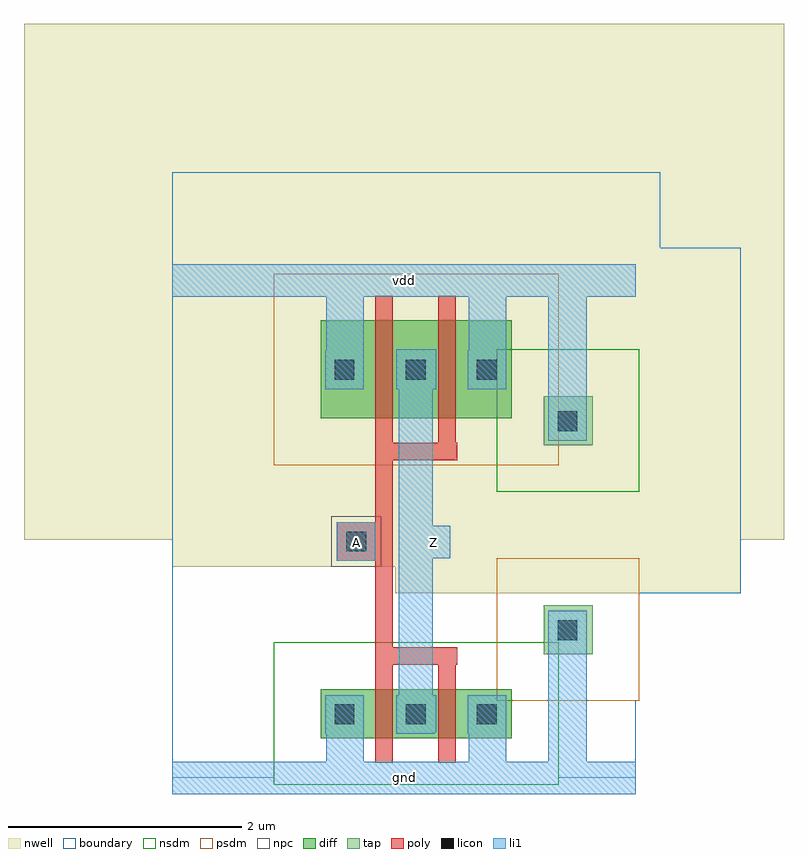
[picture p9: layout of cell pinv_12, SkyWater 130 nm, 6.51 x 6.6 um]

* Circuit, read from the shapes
.subckt pinv_12 A Z gnd vdd
XM1 Z A gnd gnd sky130_fd_pr__nfet_01v8 w=0.42 l=0.15 m=2
XM2 Z A vdd vdd sky130_fd_pr__pfet_01v8 w=0.84 l=0.15 m=2
.ends

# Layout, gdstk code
import gdstk
lib = gdstk.Library(unit=1e-6, precision=1e-09)
def R(c, l, rs):  # rectangles x0, y0, x1, y1
    for r in rs: c.add(gdstk.rectangle(r[:2], r[2:], *l))
nwell = (64, 20)
diff = (65, 20)
tap = (65, 44)
poly = (66, 20)
licon = (66, 44)
li1 = (67, 20)
nsdm = (93, 44)
psdm = (94, 20)
npc = (95, 20)
boundary = (235, 4)

contact_12 = lib.new_cell('contact_12')
R(contact_12, nwell, [(-1.27,-1.27,1.69,1.69)])
R(contact_12, diff, [(0,0,0.42,0.42)])
R(contact_12, licon, [(0.12,0.12,0.29,0.29)])
R(contact_12, li1, [(0.04,0.04,0.37,0.37)])
R(contact_12, psdm, [(-0.4,-0.4,0.82,0.82)])
R(contact_12, boundary, [(-1.27,-1.27,1.69,1.69)])

pmos_m2_w0_840_sli_dli_d = lib.new_cell('pmos_m2_w0_840_sli_dli_da_p')
R(pmos_m2_w0_840_sli_dli_d, nwell, [(-1.27,-1.27,2.91,2.11)])
R(pmos_m2_w0_840_sli_dli_d, diff, [(0,0,1.64,0.84)])
R(pmos_m2_w0_840_sli_dli_d, poly, [(0.47,-0.36,1.17,-0.21), (0.47,-0.21,0.62,1.05), (1.01,-0.21,1.16,1.05)])
R(pmos_m2_w0_840_sli_dli_d, li1, [(0.05,0.25,0.37,0.59), (0.65,0.25,0.99,0.59), (1.27,0.25,1.59,0.59)])
R(pmos_m2_w0_840_sli_dli_d, psdm, [(-0.4,-0.4,2.04,1.24)])
R(pmos_m2_w0_840_sli_dli_d, boundary, [(-1.27,-1.27,2.91,2.11)])
pmos_m2_w0_840_sli_dli_d.add(gdstk.Reference(contact_12, (0,0.21)))
pmos_m2_w0_840_sli_dli_d.add(gdstk.Reference(contact_12, (0.61,0.21)))
pmos_m2_w0_840_sli_dli_d.add(gdstk.Reference(contact_12, (1.22,0.21)))
pmos_m2_w0_840_sli_dli_d.add(gdstk.Label('G', (0.82,-0.285), layer=66, texttype=20))
pmos_m2_w0_840_sli_dli_d.add(gdstk.Label('S', (0.21,0.42), layer=67, texttype=20))
pmos_m2_w0_840_sli_dli_d.add(gdstk.Label('S', (1.43,0.42), layer=67, texttype=20))
pmos_m2_w0_840_sli_dli_d.add(gdstk.Label('D', (0.82,0.42), layer=67, texttype=20))

contact_11 = lib.new_cell('contact_11')
R(contact_11, diff, [(0,0,0.42,0.42)])
R(contact_11, licon, [(0.12,0.12,0.29,0.29)])
R(contact_11, li1, [(0.04,0.04,0.37,0.37)])
R(contact_11, nsdm, [(-0.4,-0.4,0.82,0.82)])
R(contact_11, boundary, [(-0.4,-0.4,0.82,0.82)])

nmos_m2_w0_420_sli_dli_d = lib.new_cell('nmos_m2_w0_420_sli_dli_da_p')
R(nmos_m2_w0_420_sli_dli_d, diff, [(0,0,1.64,0.42)])
R(nmos_m2_w0_420_sli_dli_d, poly, [(0.47,-0.21,0.62,0.63), (1.01,-0.21,1.16,0.63), (0.47,0.63,1.17,0.78)])
R(nmos_m2_w0_420_sli_dli_d, li1, [(0.05,0.05,0.37,0.37), (0.65,0.05,0.99,0.37), (1.27,0.05,1.59,0.37)])
R(nmos_m2_w0_420_sli_dli_d, nsdm, [(-0.4,-0.4,2.04,0.82)])
R(nmos_m2_w0_420_sli_dli_d, boundary, [(-0.4,-0.4,2.04,0.82)])
nmos_m2_w0_420_sli_dli_d.add(gdstk.Reference(contact_11, (0,0)))
nmos_m2_w0_420_sli_dli_d.add(gdstk.Reference(contact_11, (0.61,0)))
nmos_m2_w0_420_sli_dli_d.add(gdstk.Reference(contact_11, (1.22,0)))
nmos_m2_w0_420_sli_dli_d.add(gdstk.Label('G', (0.82,0.705), layer=66, texttype=20))
nmos_m2_w0_420_sli_dli_d.add(gdstk.Label('S', (0.21,0.21), layer=67, texttype=20))
nmos_m2_w0_420_sli_dli_d.add(gdstk.Label('S', (1.43,0.21), layer=67, texttype=20))
nmos_m2_w0_420_sli_dli_d.add(gdstk.Label('D', (0.82,0.21), layer=67, texttype=20))

contact_13 = lib.new_cell('contact_13')
R(contact_13, nwell, [(-1.27,-1.27,1.69,1.69)])
R(contact_13, tap, [(0,0,0.42,0.42)])
R(contact_13, licon, [(0.12,0.12,0.29,0.29)])
R(contact_13, li1, [(0.04,0.04,0.37,0.37)])
R(contact_13, nsdm, [(-0.4,-0.4,0.82,0.82)])
R(contact_13, boundary, [(-1.27,-1.27,1.69,1.69)])

contact_14 = lib.new_cell('contact_14')
R(contact_14, tap, [(0,0,0.42,0.42)])
R(contact_14, licon, [(0.12,0.12,0.29,0.29)])
R(contact_14, li1, [(0.04,0.04,0.37,0.37)])
R(contact_14, psdm, [(-0.4,-0.4,0.82,0.82)])
R(contact_14, boundary, [(-0.4,-0.4,0.82,0.82)])

contact_15 = lib.new_cell('contact_15')
R(contact_15, poly, [(0,0,0.33,0.33)])
R(contact_15, licon, [(0.08,0.08,0.25,0.25)])
R(contact_15, li1, [(0,0,0.33,0.33)])
R(contact_15, npc, [(-0.05,-0.05,0.38,0.38)])
R(contact_15, boundary, [(-0.05,-0.05,0.38,0.38)])

pinv_12 = lib.new_cell('pinv_12')
R(pinv_12, nwell, [(-1.27,2.04,5.24,6.46)])
R(pinv_12, poly, [(1.74,1.12,1.89,2.72), (1.58,1.86,1.74,2.19)])
R(pinv_12, li1, [(0,-0.14,3.97,0.14), (1.32,-0.14,1.64,0.39), (2.54,-0.14,2.86,0.39), (3.22,0,3.55,1.27), (1.94,0.39,2.23,3.67), (1.41,1.86,1.74,2.18), (2.09,1.88,2.38,2.16), (3.22,3.06,3.55,4.26), (1.32,3.33,1.64,4.4), (2.54,3.33,2.86,4.4), (0,4.12,3.97,4.4)])
R(pinv_12, boundary, [(0,0,3.97,4.26), (0,0,3.97,4.26)])
pinv_12.add(gdstk.Reference(pmos_m2_w0_840_sli_dli_d, (1.27,3.08)))
pinv_12.add(gdstk.Reference(nmos_m2_w0_420_sli_dli_d, (1.27,0.34)))
pinv_12.add(gdstk.Reference(contact_13, (3.18,2.85)))
pinv_12.add(gdstk.Reference(contact_14, (3.18,1.06)))
pinv_12.add(gdstk.Reference(contact_15, (1.41,1.86)))
pinv_12.add(gdstk.Label('A', (1.575,2.02), layer=67, texttype=20))
pinv_12.add(gdstk.Label('Z', (2.235,2.02), layer=67, texttype=20))
pinv_12.add(gdstk.Label('gnd', (1.985,0), layer=67, texttype=20))
pinv_12.add(gdstk.Label('vdd', (1.985,4.26), layer=67, texttype=20))

lib.write_gds('pinv_12.gds')
